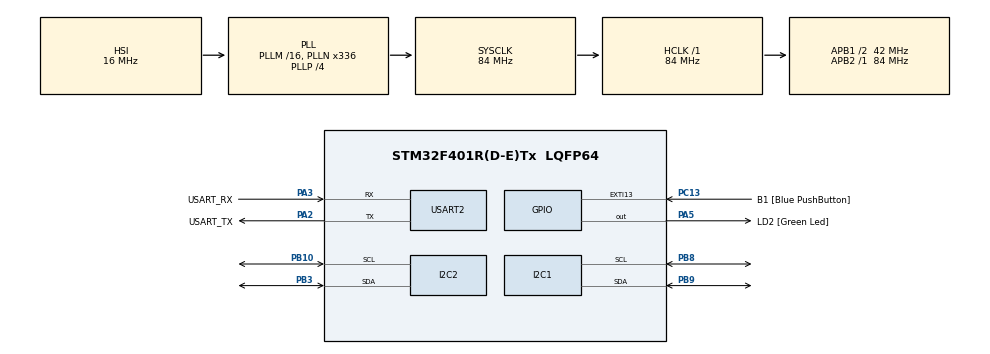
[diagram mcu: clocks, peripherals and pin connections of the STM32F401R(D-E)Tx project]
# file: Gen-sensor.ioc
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Mcu.Family=STM32F4
Mcu.Name=STM32F401R(D-E)Tx
Mcu.Package=LQFP64
NVIC.PriorityGroup=NVIC_PRIORITYGROUP_0
NVIC.TIM3_IRQn=true\:0\:0\:false\:false\:true\:true\:true\:true
PA13.GPIO_Label=TMS
PA13.Mode=Serial_Wire
PA13.Signal=SYS_JTMS-SWDIO
PA14.GPIO_Label=TCK
PA14.Mode=Serial_Wire
PA14.Signal=SYS_JTCK-SWCLK
PA2.GPIO_Label=USART_TX
PA2.GPIO_Mode=GPIO_MODE_AF_PP
PA2.GPIO_PuPd=GPIO_NOPULL
PA2.GPIO_Speed=GPIO_SPEED_FREQ_LOW
PA2.Mode=Asynchronous
PA2.Signal=USART2_TX
PA3.GPIO_Label=USART_RX
PA3.GPIO_Mode=GPIO_MODE_AF_PP
PA3.GPIO_PuPd=GPIO_NOPULL
PA3.GPIO_Speed=GPIO_SPEED_FREQ_LOW
PA3.Mode=Asynchronous
PA3.Signal=USART2_RX
PA5.GPIO_Label=LD2 [Green Led]
PA5.GPIO_Mode=GPIO_MODE_OUTPUT_PP
PA5.GPIO_PuPd=GPIO_NOPULL
PA5.GPIO_Speed=GPIO_SPEED_FREQ_LOW
PA5.Signal=GPIO_Output
PB10.Mode=I2C
PB10.Signal=I2C2_SCL
PB3.Mode=I2C
PB3.Signal=I2C2_SDA
PB8.Mode=I2C
PB8.Signal=I2C1_SCL
PB9.Mode=I2C
PB9.Signal=I2C1_SDA
PC13-ANTI_TAMP.GPIO_Label=B1 [Blue PushButton]
PC13-ANTI_TAMP.GPIO_ModeDefaultEXTI=GPIO_MODE_IT_FALLING
PC13-ANTI_TAMP.GPIO_PuPd=GPIO_NOPULL
PC13-ANTI_TAMP.Signal=GPXTI13
PC14-OSC32_IN.Mode=LSE-External-Oscillator
PC14-OSC32_IN.Signal=RCC_OSC32_IN
PC15-OSC32_OUT.Mode=LSE-External-Oscillator
PC15-OSC32_OUT.Signal=RCC_OSC32_OUT
PH0\ -\ OSC_IN.Mode=HSE-External-Clock-Source
PH0\ -\ OSC_IN.Signal=RCC_OSC_IN
PH1\ -\ OSC_OUT.Mode=HSE-External-Clock-Source
PH1\ -\ OSC_OUT.Signal=RCC_OSC_OUT
ProjectManager.HeapSize=0x200
ProjectManager.StackSize=0x400
ProjectManager.TargetToolchain=STM32CubeIDE
RCC.48MHZClocksFreq_Value=48000000
RCC.AHBFreq_Value=84000000
RCC.APB1CLKDivider=RCC_HCLK_DIV2
RCC.APB1Freq_Value=42000000
RCC.APB1TimFreq_Value=84000000
RCC.APB2Freq_Value=84000000
RCC.APB2TimFreq_Value=84000000
RCC.CortexFreq_Value=84000000
RCC.HCLKFreq_Value=84000000
RCC.HSE_VALUE=8000000
RCC.HSI_VALUE=16000000
RCC.PLLN=336
RCC.PLLP=RCC_PLLP_DIV4
RCC.PLLQ=7
RCC.SYSCLKFreq_VALUE=84000000
RCC.SYSCLKSource=RCC_SYSCLKSOURCE_PLLCLK
RCC.VCOOutputFreq_Value=336000000
TIM3.AutoReloadPreload=TIM_AUTORELOAD_PRELOAD_ENABLE
TIM3.Period=5000
TIM3.Prescaler=16800
USART2.VirtualMode=VM_ASYNC
VP_TIM3_VS_ClockSourceINT.Mode=Internal
board=NUCLEO-F401RE

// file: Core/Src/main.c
/* USER CODE BEGIN Header */
/**
  ******************************************************************************
  * @file           : main.c
  * @brief          : Main program body
  ******************************************************************************
  * @attention
  *
  * Copyright (c) 2022 STMicroelectronics.
  * All rights reserved.
  *
  * This software is licensed under terms that can be found in the LICENSE file
  * in the root directory of this software component.
  * If no LICENSE file comes with this software, it is provided AS-IS.
  *
  ******************************************************************************
  */
/* USER CODE END Header */
#include "main.h"

/* USER CODE BEGIN Includes */
#include "sht3x.h"
#include "bh1750.h"
#include <stdio.h>

/* USER CODE END Includes */

/* USER CODE BEGIN PD */
#define LED_COUNTER 1			//1*1000 = 1000ms
#define SHT31_COUNTER 1			//1*1000 = 1000ms
#define BH1750_COUNTER 1			//1*1000 = 1000ms
/* USER CODE END PD */

I2C_HandleTypeDef hi2c1;
I2C_HandleTypeDef hi2c2;

TIM_HandleTypeDef htim3;

UART_HandleTypeDef huart2;

/* USER CODE BEGIN PV */
sht3x_handle_t sht31d;

typedef struct {
	float temp;
	float humidity;
	float light;
} gen_sensor_struct;

gen_sensor_struct gen_sensor_struct_data;
uint16_t LED_counter = LED_COUNTER;
bool LED_counter_timeout_flag = false;
uint16_t SHT31_counter = SHT31_COUNTER;
bool SHT31_counter_timeout_flag = false;
uint16_t BH1750_counter = BH1750_COUNTER;
bool BH1750_counter_timeout_flag = false;
/* USER CODE END PV */

void SystemClock_Config(void);
static void MX_GPIO_Init(void);
static void MX_USART2_UART_Init(void);
static void MX_I2C1_Init(void);
static void MX_TIM3_Init(void);
static void MX_I2C2_Init(void);

/* USER CODE BEGIN 0 */
void HAL_TIM_PeriodElapsedCallback(TIM_HandleTypeDef* htim)
{
	if(--LED_counter == 0)
	{
		LED_counter_timeout_flag = true;
		LED_counter = LED_COUNTER;
	}
	else{}

	//SHT31 handle
	if(--SHT31_counter == 0)
	{
		SHT31_counter_timeout_flag = true;
		SHT31_counter = SHT31_COUNTER;
	}

	//LH1750 handle
	if(--BH1750_counter == 0)
	{
		BH1750_counter_timeout_flag = true;
		BH1750_counter = BH1750_COUNTER;
	}

}
/* USER CODE END 0 */

int main(void)
{
  /* USER CODE BEGIN 1 */
  char uart_buf[40];
  uint32_t uart_buf_len;
  /* USER CODE END 1 */

  /* MCU Configuration--------------------------------------------------------*/

  /* Reset of all peripherals, Initializes the Flash interface and the Systick. */
  HAL_Init();

  /* Configure the system clock */
  SystemClock_Config();

  /* Initialize all configured peripherals */
  MX_GPIO_Init();
  MX_USART2_UART_Init();
  MX_I2C1_Init();
  MX_TIM3_Init();
  MX_I2C2_Init();
  /* USER CODE BEGIN 2 */
  // Start timer
  HAL_TIM_Base_Start_IT(&htim3);
  gen_sensor_struct_data.humidity = 0;
  gen_sensor_struct_data.temp = 0;
  sht31d.i2c_handle = &hi2c1;
  sht31d.device_address = (uint16_t)SHT3X_I2C_DEVICE_ADDRESS_ADDR_PIN_LOW;
  sht3x_init(&sht31d);
  BH1750_Init(&hi2c2);
  BH1750_SetMode(CONTINUOUS_HIGH_RES_MODE_2);
  /* USER CODE END 2 */

  /* Infinite loop */
  /* USER CODE BEGIN WHILE */
  while (1)
  {

	  //HAL_GPIO_TogglePin(GPIOA, GPIO_PIN_5);

	  if(LED_counter_timeout_flag)
	  {
		  LED_counter_timeout_flag = false;
		  HAL_GPIO_TogglePin(GPIOA, GPIO_PIN_5);
	  }
	  if(SHT31_counter_timeout_flag)
	  {
		  SHT31_counter_timeout_flag = false;
		  sht3x_read_temperature_and_humidity(&sht31d, &(gen_sensor_struct_data.temp), &(gen_sensor_struct_data.humidity) );
		  //printf("Temperature: %.2f and Humidity: %.2f", gen_sensor_struct_data.temp, gen_sensor_struct_data.humidity);
		  uart_buf_len = sprintf(uart_buf, "Temperature: %0.2f and Humidity: %.2f\n", gen_sensor_struct_data.temp, gen_sensor_struct_data.humidity);
		  HAL_UART_Transmit(&huart2, (uint8_t *)uart_buf, uart_buf_len, 100);
	  }

	  if(BH1750_counter_timeout_flag)
	  {
		  BH1750_counter_timeout_flag = false;
		  BH1750_ReadLight(&gen_sensor_struct_data.light);
		  uart_buf_len = sprintf(uart_buf, "Light: %.2f\n", gen_sensor_struct_data.light);
		  HAL_UART_Transmit(&huart2, (uint8_t *)uart_buf, uart_buf_len, 100);
	  }

    /* USER CODE END WHILE */

  }
}

void SystemClock_Config(void)
{
  RCC_OscInitTypeDef RCC_OscInitStruct = {0};
  RCC_ClkInitTypeDef RCC_ClkInitStruct = {0};

  /** Configure the main internal regulator output voltage
  */
  __HAL_RCC_PWR_CLK_ENABLE();
  __HAL_PWR_VOLTAGESCALING_CONFIG(PWR_REGULATOR_VOLTAGE_SCALE2);

  /** Initializes the RCC Oscillators according to the specified parameters
  * in the RCC_OscInitTypeDef structure.
  */
  RCC_OscInitStruct.OscillatorType = RCC_OSCILLATORTYPE_HSI;
  RCC_OscInitStruct.HSIState = RCC_HSI_ON;
  RCC_OscInitStruct.HSICalibrationValue = RCC_HSICALIBRATION_DEFAULT;
  RCC_OscInitStruct.PLL.PLLState = RCC_PLL_ON;
  RCC_OscInitStruct.PLL.PLLSource = RCC_PLLSOURCE_HSI;
  RCC_OscInitStruct.PLL.PLLM = 16;
  RCC_OscInitStruct.PLL.PLLN = 336;
  RCC_OscInitStruct.PLL.PLLP = RCC_PLLP_DIV4;
  RCC_OscInitStruct.PLL.PLLQ = 7;
  if (HAL_RCC_OscConfig(&RCC_OscInitStruct) != HAL_OK)
  {
    Error_Handler();
  }

  /** Initializes the CPU, AHB and APB buses clocks
  */
  RCC_ClkInitStruct.ClockType = RCC_CLOCKTYPE_HCLK|RCC_CLOCKTYPE_SYSCLK
                              |RCC_CLOCKTYPE_PCLK1|RCC_CLOCKTYPE_PCLK2;
  RCC_ClkInitStruct.SYSCLKSource = RCC_SYSCLKSOURCE_PLLCLK;
  RCC_ClkInitStruct.AHBCLKDivider = RCC_SYSCLK_DIV1;
  RCC_ClkInitStruct.APB1CLKDivider = RCC_HCLK_DIV2;
  RCC_ClkInitStruct.APB2CLKDivider = RCC_HCLK_DIV1;

  if (HAL_RCC_ClockConfig(&RCC_ClkInitStruct, FLASH_LATENCY_2) != HAL_OK)
  {
    Error_Handler();
  }
}

static void MX_I2C1_Init(void)
{

  hi2c1.Instance = I2C1;
  hi2c1.Init.ClockSpeed = 100000;
  hi2c1.Init.DutyCycle = I2C_DUTYCYCLE_2;
  hi2c1.Init.OwnAddress1 = 0;
  hi2c1.Init.AddressingMode = I2C_ADDRESSINGMODE_7BIT;
  hi2c1.Init.DualAddressMode = I2C_DUALADDRESS_DISABLE;
  hi2c1.Init.OwnAddress2 = 0;
  hi2c1.Init.GeneralCallMode = I2C_GENERALCALL_DISABLE;
  hi2c1.Init.NoStretchMode = I2C_NOSTRETCH_DISABLE;
  if (HAL_I2C_Init(&hi2c1) != HAL_OK)
  {
    Error_Handler();
  }

}

static void MX_I2C2_Init(void)
{

  hi2c2.Instance = I2C2;
  hi2c2.Init.ClockSpeed = 100000;
  hi2c2.Init.DutyCycle = I2C_DUTYCYCLE_2;
  hi2c2.Init.OwnAddress1 = 0;
  hi2c2.Init.AddressingMode = I2C_ADDRESSINGMODE_7BIT;
  hi2c2.Init.DualAddressMode = I2C_DUALADDRESS_DISABLE;
  hi2c2.Init.OwnAddress2 = 0;
  hi2c2.Init.GeneralCallMode = I2C_GENERALCALL_DISABLE;
  hi2c2.Init.NoStretchMode = I2C_NOSTRETCH_DISABLE;
  if (HAL_I2C_Init(&hi2c2) != HAL_OK)
  {
    Error_Handler();
  }

}

static void MX_TIM3_Init(void)
{

  TIM_ClockConfigTypeDef sClockSourceConfig = {0};
  TIM_MasterConfigTypeDef sMasterConfig = {0};

  htim3.Instance = TIM3;
  htim3.Init.Prescaler = 16800;
  htim3.Init.CounterMode = TIM_COUNTERMODE_UP;
  htim3.Init.Period = 5000;
  htim3.Init.ClockDivision = TIM_CLOCKDIVISION_DIV1;
  htim3.Init.AutoReloadPreload = TIM_AUTORELOAD_PRELOAD_ENABLE;
  if (HAL_TIM_Base_Init(&htim3) != HAL_OK)
  {
    Error_Handler();
  }
  sClockSourceConfig.ClockSource = TIM_CLOCKSOURCE_INTERNAL;
  if (HAL_TIM_ConfigClockSource(&htim3, &sClockSourceConfig) != HAL_OK)
  {
    Error_Handler();
  }
  sMasterConfig.MasterOutputTrigger = TIM_TRGO_RESET;
  sMasterConfig.MasterSlaveMode = TIM_MASTERSLAVEMODE_DISABLE;
  if (HAL_TIMEx_MasterConfigSynchronization(&htim3, &sMasterConfig) != HAL_OK)
  {
    Error_Handler();
  }

}

static void MX_USART2_UART_Init(void)
{

  huart2.Instance = USART2;
  huart2.Init.BaudRate = 115200;
  huart2.Init.WordLength = UART_WORDLENGTH_8B;
  huart2.Init.StopBits = UART_STOPBITS_1;
  huart2.Init.Parity = UART_PARITY_NONE;
  huart2.Init.Mode = UART_MODE_TX_RX;
  huart2.Init.HwFlowCtl = UART_HWCONTROL_NONE;
  huart2.Init.OverSampling = UART_OVERSAMPLING_16;
  if (HAL_UART_Init(&huart2) != HAL_OK)
  {
    Error_Handler();
  }

}

static void MX_GPIO_Init(void)
{
  GPIO_InitTypeDef GPIO_InitStruct = {0};

  /* GPIO Ports Clock Enable */
  __HAL_RCC_GPIOC_CLK_ENABLE();
  __HAL_RCC_GPIOH_CLK_ENABLE();
  __HAL_RCC_GPIOA_CLK_ENABLE();
  __HAL_RCC_GPIOB_CLK_ENABLE();

  /*Configure GPIO pin Output Level */
  HAL_GPIO_WritePin(LD2_GPIO_Port, LD2_Pin, GPIO_PIN_RESET);

  /*Configure GPIO pin : B1_Pin */
  GPIO_InitStruct.Pin = B1_Pin;
  GPIO_InitStruct.Mode = GPIO_MODE_IT_FALLING;
  GPIO_InitStruct.Pull = GPIO_NOPULL;
  HAL_GPIO_Init(B1_GPIO_Port, &GPIO_InitStruct);

  /*Configure GPIO pin : LD2_Pin */
  GPIO_InitStruct.Pin = LD2_Pin;
  GPIO_InitStruct.Mode = GPIO_MODE_OUTPUT_PP;
  GPIO_InitStruct.Pull = GPIO_NOPULL;
  GPIO_InitStruct.Speed = GPIO_SPEED_FREQ_LOW;
  HAL_GPIO_Init(LD2_GPIO_Port, &GPIO_InitStruct);

}

void Error_Handler(void)
{
  __disable_irq();
  while (1)
  {
  }
}
